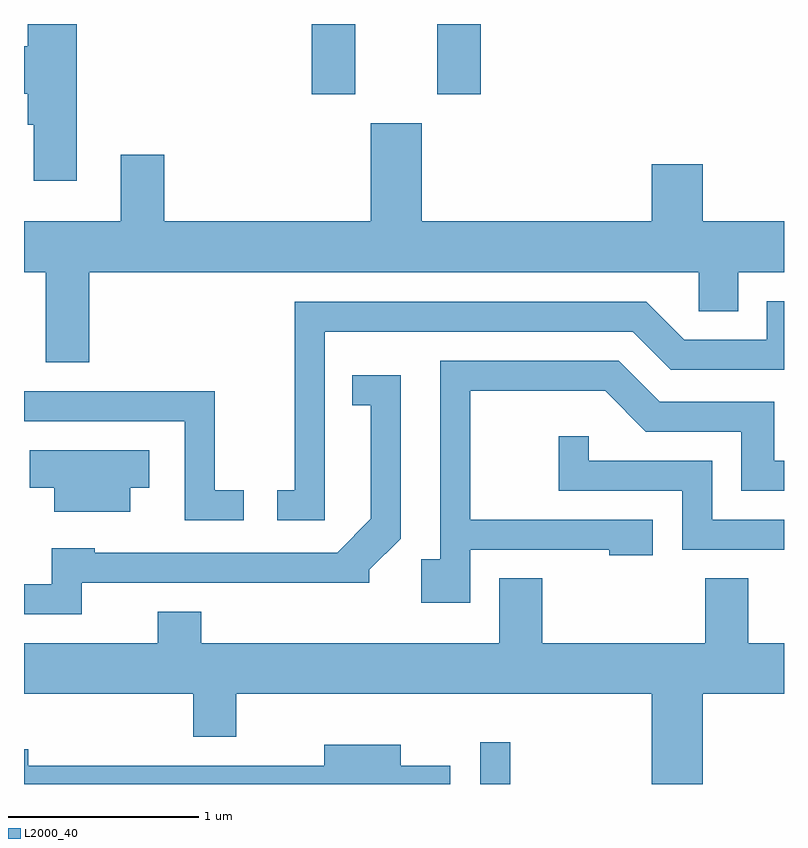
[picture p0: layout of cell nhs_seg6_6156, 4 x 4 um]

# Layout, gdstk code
import gdstk
lib = gdstk.Library(unit=1e-6, precision=1e-09)
def R(c, l, rs):  # rectangles x0, y0, x1, y1
    for r in rs: c.add(gdstk.rectangle(r[:2], r[2:], *l))
def P(c, l, *ps):  # polygons
    for p in ps: c.add(gdstk.Polygon(p, *l))
L2000_40 = (2000, 40)

nhs_seg6_6156 = lib.new_cell('nhs_seg6_6156')
R(nhs_seg6_6156, L2000_40, [(374.011,1616.162,374.169,1616.383), (373.126,1619.791,373.354,1620.162), (373.786,1619.791,374.014,1620.162)])
P(nhs_seg6_6156, L2000_40, [(371.889,1620.162),(371.631,1620.162),(371.631,1620.044),(371.611,1620.044),(371.611,1619.796),(371.631,1619.796),(371.631,1619.631),(371.661,1619.631),(371.661,1619.336),(371.889,1619.336)],
  [(371.954,1618.856),(375.161,1618.856),(375.161,1618.651),(375.369,1618.651),(375.369,1618.856),(375.611,1618.856),(375.611,1619.124),(375.184,1619.124),(375.184,1619.424),(374.916,1619.424),(374.916,1619.124),(373.704,1619.124),(373.704,1619.639),(373.436,1619.639),(373.436,1619.124),(372.349,1619.124),(372.349,1619.474),(372.121,1619.474),(372.121,1619.124),(371.611,1619.124),(371.611,1618.856),(371.726,1618.856),(371.726,1618.381),(371.954,1618.381)],
  [(373.194,1618.541),(374.814,1618.541),(375.014,1618.341),(375.611,1618.341),(375.611,1618.704),(375.521,1618.704),(375.521,1618.499),(375.087,1618.499),(374.887,1618.699),(373.036,1618.699),(373.036,1617.709),(372.943,1617.709),(372.943,1617.551),(373.194,1617.551)],
  [(373.959,1617.396),(374.691,1617.396),(374.691,1617.366),(374.919,1617.366),(374.919,1617.554),(373.959,1617.554),(373.959,1618.231),(374.669,1618.231),(374.884,1618.016),(375.386,1618.016),(375.386,1617.706),(375.611,1617.706),(375.611,1617.864),(375.559,1617.864),(375.559,1618.174),(374.957,1618.174),(374.742,1618.389),(373.801,1618.389),(373.801,1617.344),(373.701,1617.344),(373.701,1617.116),(373.959,1617.116)],
  [(371.914,1617.221),(373.429,1617.221),(373.429,1617.289),(373.594,1617.454),(373.594,1618.314),(373.338,1618.314),(373.338,1618.156),(373.436,1618.156),(373.436,1617.557),(373.259,1617.379),(371.984,1617.379),(371.984,1617.404),(371.756,1617.404),(371.756,1617.214),(371.611,1617.214),(371.611,1617.056),(371.914,1617.056)],
  [(372.768,1617.709),(372.614,1617.709),(372.614,1618.229),(371.611,1618.229),(371.611,1618.071),(372.456,1618.071),(372.456,1617.551),(372.768,1617.551)],
  [(375.611,1617.554),(375.234,1617.554),(375.234,1617.864),(374.584,1617.864),(374.584,1617.993),(374.426,1617.993),(374.426,1617.706),(375.076,1617.706),(375.076,1617.396),(375.611,1617.396)],
  [(372.169,1617.721),(372.269,1617.721),(372.269,1617.919),(371.641,1617.919),(371.641,1617.721),(371.771,1617.721),(371.771,1617.596),(372.169,1617.596)],
  [(375.184,1616.636),(375.611,1616.636),(375.611,1616.904),(375.424,1616.904),(375.424,1617.244),(375.196,1617.244),(375.196,1616.904),(374.339,1616.904),(374.339,1617.244),(374.111,1617.244),(374.111,1616.904),(372.544,1616.904),(372.544,1617.069),(372.316,1617.069),(372.316,1616.904),(371.611,1616.904),(371.611,1616.636),(372.501,1616.636),(372.501,1616.411),(372.729,1616.411),(372.729,1616.636),(374.916,1616.636),(374.916,1616.162),(375.184,1616.162)],
  [(373.854,1616.259),(373.594,1616.259),(373.594,1616.369),(373.191,1616.369),(373.191,1616.259),(371.634,1616.259),(371.634,1616.344),(371.611,1616.344),(371.611,1616.162),(373.854,1616.162)])

lib.write_gds('nhs_seg6_6156.gds')
